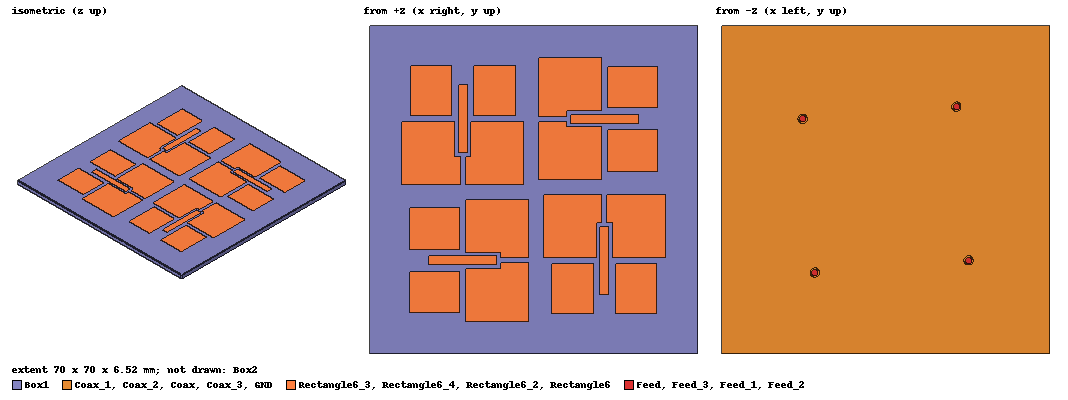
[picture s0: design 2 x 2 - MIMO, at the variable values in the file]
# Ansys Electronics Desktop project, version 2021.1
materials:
  vacuum: permittivity=1
  Taconic RF-35 (tm): permittivity=3.5 dielectric_loss_tangent=0.0018
  copper: permeability=0.999991 conductivity=58000000

design 2 x 2 - MIMO (HFSS, DrivenModal, model units mm)
options: Save_Adaptive_support_files
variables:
  Ws = 70mm
  Hs = (1.52/2) mm
  Wp = 2mm
  G = 2.6mm
  Lc = 8.6mm
  Hair = 0mm
  Ha = 0mm
  P = 13.5mm
  Wo = 10.8mm
  Hs1 = (1.52/2) mm
  Wo1 = 13.5mm
  S = 1mm
  Bo = 15mm
  Lp = 14.6mm
  gap = 0.5mm
  gx1 = 2.4mm
  gy1 = 0.6mm
  gx2 = 0.5mm
  gy2 = 0.6mm
  mov = 0mm
  L1 = 7.3mm
  L2 = 7.3mm
  g1 = 0.7mm
  g2 = 0.5mm
  cut = 2mm
  cut1 = 1mm
  Ls = Ws
  mo = 0mm
  dx = 30.2mm
  dy = dx
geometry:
  GND = rectangle(corner=(-Ws/2, -Ws/2, 0mm), x_size=Ws, y_size=Ls)
  Box1 [Taconic RF-35 (tm)] = box(corner=(-Ws/2, -Ws/2, Hair), size=(Ws, Ls, Hs))
  Coax [copper] = cylinder(axis=Z, base_centre=(G, 0mm, 0mm), radius=1mm, height=-5mm)
  Coax1 = cylinder(axis=Z, base_centre=(G, 0mm, 0mm), radius=0.7mm, height=-5mm)
  Pin = cylinder(axis=Z, base_centre=(G, 0mm, Hair), radius=0.3mm, height=-Hair-5mm)
  Coax.subtract(Coax1)
  Probe = cylinder(axis=Z, base_centre=(G, 0mm, Hair), radius=0.3mm, height=Hs+Hs)
  Feed = circle(normal=Z, centre=(G, 0mm, -5mm), radius=0.7mm)
  Box2 [vacuum] = box(corner=(-Ws/2-Bo, -Ws/2-Bo, -Bo), size=(Ws+2*Bo, Ls+2*Bo, 2*Hs+Hair+Ha+2*Bo))
  Circle1 = circle(normal=Z, centre=(G, 0mm, 0mm), radius=0.7mm)
  Box3 = box(corner=(-Ws/2, -Ws/2, Hair+Hs+Ha), size=(Ws, Ls, Hs1))
  Rectangle6 = rectangle(corner=(-Wo/2, -Wo/2, Hs+Hs1+Hair+Ha), x_size=Wo, y_size=Wo)
  Rectangle6.move(-Wo/2-gx1, -Wo/2-gy1, 0mm)
  Box1.unite(Box3)
  Rectangle10 = rectangle(corner=(-Wo1/2, -Wo1/2, Hs+Hs1+Hair+Ha), x_size=Wo1, y_size=Wo1)
  Rectangle10.move(-Wo1/2-gx2, Wo1/2+gy2, 0mm)
  Rectangle11 = rectangle(corner=(0, -Wp/2, Hs+Hs), x_size=-L1, y_size=Wp)
  Rectangle12 = rectangle(corner=(0, -Wp/2, Hs+Hs), x_size=L2, y_size=Wp)
  Rectangle13 = rectangle(corner=(0, -Wp/2-g1, Hs+Hs), x_size=-L1-g1, y_size=Wp+2*g1)
  Rectangle14 = rectangle(corner=(0, -Wp/2-g2, Hs+Hs), x_size=L2+g2, y_size=Wp+2*g2)
  Rectangle13.unite(Rectangle14)
  Rectangle15 = rectangle(corner=(-Wo/2, -Wo/2, Hs+Hs1+Hair+Ha), x_size=Wo, y_size=cut)
  Rectangle15.move(-Wo/2-gy1, -Wo/2-gx1, 0mm)
  Rectangle15.mirror(point=(0mm, 21mm, 0mm), normal=(1mm, 0mm, 0mm))
  Rectangle15_1 = Rectangle15.duplicate_mirror(point=(13mm, 0mm, 0mm), normal=(0mm, 1mm, 0mm))
  Rectangle21 = rectangle(corner=(-Wo1/2, -Wo1/2, Hs+Hs1+Hair+Ha), x_size=Wo1, y_size=cut1)
  Rectangle21.move(-Wo1/2-gy2, -Wo1/2-gx2, 0mm)
  Rectangle21_1 = Rectangle21.duplicate_mirror(point=(-18mm, 0mm, 0mm), normal=(0mm, 1mm, 0mm))
  Rectangle6.unite(Rectangle10)
  Rectangle6.rotate(axis=Z, angle=90deg)
  Rectangle6.subtract(Rectangle13, Rectangle15, Rectangle15_1, Rectangle21, Rectangle21_1)
  [GND, Box1, Box2].move(-mo, 0mm, 0mm)
  Rectangle6_1 = Rectangle6.duplicate_mirror(point=(-16mm, 0mm, 0mm), normal=(0mm, 1mm, 0mm))
  Rectangle6.unite(Rectangle11, Rectangle12, Rectangle6_1)
  Rectangle6.move(dx/2, dx/2, 0mm)
  Rectangle6_2, Rectangle6_3, Rectangle6_4 = Rectangle6.duplicate_around_axis(axis=Z, angle=90deg, total=4)
  Coax.unite(Pin, Probe)
  Coax.move(dx/2, dx/2, 0mm)
  Coax_1, Coax_2, Coax_3 [copper] = Coax.duplicate_around_axis(axis=Z, angle=90deg, total=4)
  Circle1.move(dx/2, dx/2, 0mm)
  Circle1_1, Circle1_2, Circle1_3 = Circle1.duplicate_around_axis(axis=Z, angle=90deg, total=4)
  GND.subtract(Circle1, Circle1_1, Circle1_2, Circle1_3)
  Feed.move(dx/2, dx/2, 0mm)
  Feed_1, Feed_2, Feed_3 = Feed.duplicate_around_axis(axis=Z, angle=90deg, total=4)
  Coax2 = cylinder(axis=Z, base_centre=(G, 0mm, 0mm), radius=1mm, height=-5mm)
  Coax3 = cylinder(axis=Z, base_centre=(G, 0mm, 0mm), radius=0.7mm, height=-5mm)
  Coax2.subtract(Coax3)
  Pin1 = cylinder(axis=Z, base_centre=(G, 0mm, Hair), radius=0.3mm, height=-Hair-5mm)
  Probe1 = cylinder(axis=Z, base_centre=(G, 0mm, Hair), radius=0.3mm, height=Hs+Hs)
  Coax2.unite(Pin1, Probe1)
  Coax2.move(dx/2, dx/2, 0mm)
  Coax_4, Coax_5, Coax_6 = Coax2.duplicate_around_axis(axis=Z, angle=90deg, total=4)
  Coax2.unite(Coax_4, Coax_5, Coax_6)
  Box1.subtract(Coax2)
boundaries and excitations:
  FiniteCond1: Finite Conductivity Objects=GND UseMaterial Material=copper IsInternal
  Rad1: Radiation Objects=Box2
  FiniteCond3: Finite Conductivity Objects=Rectangle6 UseMaterial Material=copper IsInternal
  FiniteCond4: Finite Conductivity Objects=Rectangle6_2 UseMaterial Material=copper IsInternal
  FiniteCond5: Finite Conductivity Objects=Rectangle6_3 UseMaterial Material=copper IsInternal
  FiniteCond6: Finite Conductivity Objects=Rectangle6_4 UseMaterial Material=copper IsInternal
  1: Lumped Port Objects=Feed Modes{Mode1{IntLine{middle of Feed.edge(1 of 1) -> middle of Coax.edge(1 of 2)} CharImp=Zpi RenormImp=50ohm}} Impedance=50ohm
  2: Lumped Port Objects=Feed_1 Modes{Mode1{IntLine{middle of Feed_1.edge(1 of 1) -> middle of Coax_1.edge(6 of 6)} CharImp=Zpi RenormImp=50ohm}} Impedance=50ohm
  3: Lumped Port Objects=Feed_2 Modes{Mode1{IntLine{middle of Feed_2.edge(1 of 1) -> middle of Coax_2.edge(6 of 6)} CharImp=Zpi RenormImp=50ohm}} Impedance=50ohm
  4: Lumped Port Objects=Feed_3 Modes{Mode1{IntLine{middle of Feed_3.edge(1 of 1) -> middle of Coax_3.edge(6 of 6)} CharImp=Zpi RenormImp=50ohm}} Impedance=50ohm
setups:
  Setup1: HfssDriven Frequency=5.2GHz MaxDeltaS=0.02 MaximumPasses=20 MinimumPasses=1 MinimumConvergedPasses=1 PercentRefinement=30 BasisOrder=1 PortAccuracy=2 IESolverType=ACA
    sweep Sweep: 4.8GHz to 7.2GHz step 0.02GHz; Type=Discrete SaveFields
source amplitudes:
  1:1: 1W 0deg
  2:1, 3:1, 4:1: 0W 0deg
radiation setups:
  Infinite Sphere1: Infinite Sphere Theta=-180deg..180deg step 2deg Phi=-180deg..180deg step 2deg
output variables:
  ECC12 = (mag(conjg(S(1,1))*S(1,2) + conjg(S(2,1))*S(2,2) + conjg(S(3,1))*S(3,2) + conjg(S(4,1))*S(4,2)))^2 / ((1 - mag(S(1,1))^2 - mag(S(2,1))^2 - mag(S(3,1))^2 - mag(S(4,1))^2) * (1 - mag(S(1,2))^2 - mag(S(2,2))^2 - mag(S(3,2))^2 - mag(S(4,2))^2))
  ECC13 = (mag(conjg(S(1,1))*S(1,3) + conjg(S(2,1))*S(2,3) + conjg(S(3,1))*S(3,3) + conjg(S(4,1))*S(4,3)))^2 / ((1 - mag(S(1,1))^2 - mag(S(2,1))^2 - mag(S(3,1))^2 - mag(S(4,1))^2) * (1 - mag(S(1,3))^2 - mag(S(2,3))^2 - mag(S(3,3))^2 - mag(S(4,3))^2))
  ECC14 = (mag(conjg(S(1,1))*S(1,4) + conjg(S(2,1))*S(2,4) + conjg(S(3,1))*S(3,4) + conjg(S(4,1))*S(4,4)))^2 / ((1 - mag(S(1,1))^2 - mag(S(2,1))^2 - mag(S(3,1))^2 - mag(S(4,1))^2) * (1 - mag(S(1,4))^2 - mag(S(2,4))^2 - mag(S(3,4))^2 - mag(S(4,4))^2))
  ECC23 = (mag(conjg(S(1,2))*S(1,3) + conjg(S(2,2))*S(2,3) + conjg(S(3,2))*S(3,3) + conjg(S(4,2))*S(4,3)))^2 / ((1 - mag(S(1,2))^2 - mag(S(2,2))^2 - mag(S(3,2))^2 - mag(S(4,2))^2) * (1 - mag(S(1,3))^2 - mag(S(2,3))^2 - mag(S(3,3))^2 - mag(S(4,3))^2))
  ECC24 = (mag(conjg(S(1,2))*S(1,4) + conjg(S(2,2))*S(2,4) + conjg(S(3,2))*S(3,4) + conjg(S(4,2))*S(4,4)))^2 / ((1 - mag(S(1,2))^2 - mag(S(2,2))^2 - mag(S(3,2))^2 - mag(S(4,2))^2) * (1 - mag(S(1,4))^2 - mag(S(2,4))^2 - mag(S(3,4))^2 - mag(S(4,4))^2))
  ECC34 = (mag(conjg(S(1,3))*S(1,4) + conjg(S(2,3))*S(2,4) + conjg(S(3,3))*S(3,4) + conjg(S(4,3))*S(4,4)))^2 / ((1 - mag(S(1,3))^2 - mag(S(2,3))^2 - mag(S(3,3))^2 - mag(S(4,3))^2) * (1 - mag(S(1,4))^2 - mag(S(2,4))^2 - mag(S(3,4))^2 - mag(S(4,4))^2))
  DG12 = 10*(sqrt(1-ECC12^2))
  DG13 = 10*(sqrt(1-ECC13^2))
  DG14 = 10*(sqrt(1-ECC14^2))
  DG23 = 10*(sqrt(1-ECC23^2))
  DG24 = 10*(sqrt(1-ECC24^2))
  DG34 = 10*(sqrt(1-ECC34^2))
  MEG1 = (1-(mag(S(1,1)))^2-(mag(S(1,2)))^2-(mag(S(1,3)))^2-(mag(S(1,4)))^2)/2
  MEG2 = (1-(mag(S(2,1)))^2-(mag(S(2,2)))^2-(mag(S(2,3)))^2-(mag(S(2,4)))^2)/2
  MEG3 = (1-(mag(S(3,1)))^2-(mag(S(3,2)))^2-(mag(S(3,3)))^2-(mag(S(3,4)))^2)/2
  MEG4 = (1-(mag(S(4,1)))^2-(mag(S(4,2)))^2-(mag(S(4,3)))^2-(mag(S(4,4)))^2)/2
  TARC = sqrt(((S(1,1)+S(1,2)+S(1,3)+S(1,4))^2+(S(2,1)+S(2,2)+S(2,3)+S(2,4))^2+(S(3,1)+S(3,2)+S(3,3)+S(3,4))^2+(S(4,1)+S(4,2)+S(4,3)+S(4,4))^2)/4)
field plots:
  Vector_Jsurf2: Jsurf over Rectangle6.face(#1988, #1201, #2139) on Setup1 : Sweep at Freq=5.2GHz Phase=45deg
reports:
  S-parameter: dB(S(1,1)), dB(S(2,1)), dB(S(3,1)), dB(S(4,1)) vs Freq on Setup1 : Sweep; markers m1 at 6.54GHz, m2 at 5.25GHz, MY1 at y=-10
  Broadside Gain: dB(RealizedGainTotal) vs Freq on Setup1 : Sweep, Infinite Sphere1 [Phi=0deg Theta=0deg mo=all]
  5.2 GHz: dB(GainTotal) vs Phi, Theta on Setup1 : Sweep, Infinite Sphere1 [Freq=5.2GHz]
  ECC: ECC12, ECC13, ECC14, ECC23, ECC24, ECC34 vs Freq on Setup1 : Sweep
  DG: DG12, DG13, DG14, DG23, DG24, DG34 vs Freq on Setup1 : Sweep
  TARC: dB10(TARC) vs Freq on Setup1 : Sweep
  MEG: dB10(MEG1), dB10(MEG2), dB10(MEG3), dB10(MEG4) vs Freq on Setup1 : Sweep
  6.6 GHz: dB(GainTotal) vs Phi, Theta on Setup1 : Sweep, Infinite Sphere1 [Freq=6.6GHz]
